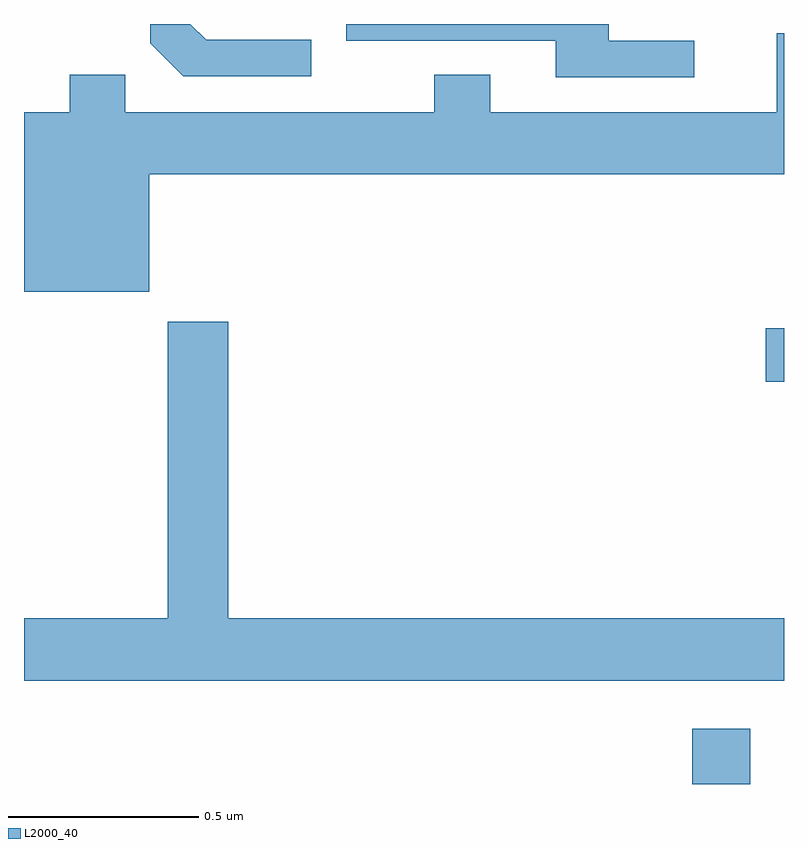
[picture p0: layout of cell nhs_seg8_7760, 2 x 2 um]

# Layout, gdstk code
import gdstk
lib = gdstk.Library(unit=1e-6, precision=1e-09)
def R(c, l, rs):  # rectangles x0, y0, x1, y1
    for r in rs: c.add(gdstk.rectangle(r[:2], r[2:], *l))
def P(c, l, *ps):  # polygons
    for p in ps: c.add(gdstk.Polygon(p, *l))
L2000_40 = (2000, 40)

nhs_seg8_7760 = lib.new_cell('nhs_seg8_7760')
R(nhs_seg8_7760, L2000_40, [(215.759,1110.9,215.911,1111.045), (215.952,1111.958,216,1112.1)])
P(nhs_seg8_7760, L2000_40, [(215.764,1112.856),(215.539,1112.856),(215.539,1112.9),(214.848,1112.9),(214.848,1112.856),(215.399,1112.856),(215.399,1112.76),(215.764,1112.76)],
  [(214.756,1112.859),(214.479,1112.859),(214.438,1112.9),(214.332,1112.9),(214.332,1112.85),(214.419,1112.763),(214.756,1112.763)],
  [(214.33,1112.504),(216,1112.504),(216,1112.876),(215.981,1112.876),(215.981,1112.668),(215.227,1112.668),(215.227,1112.767),(215.08,1112.767),(215.08,1112.668),(214.266,1112.668),(214.266,1112.767),(214.12,1112.767),(214.12,1112.668),(214,1112.668),(214,1112.195),(214.33,1112.195)],
  [(216,1111.336),(214.538,1111.336),(214.538,1112.116),(214.378,1112.116),(214.378,1111.336),(214,1111.336),(214,1111.172),(216,1111.172)])

lib.write_gds('nhs_seg8_7760.gds')
